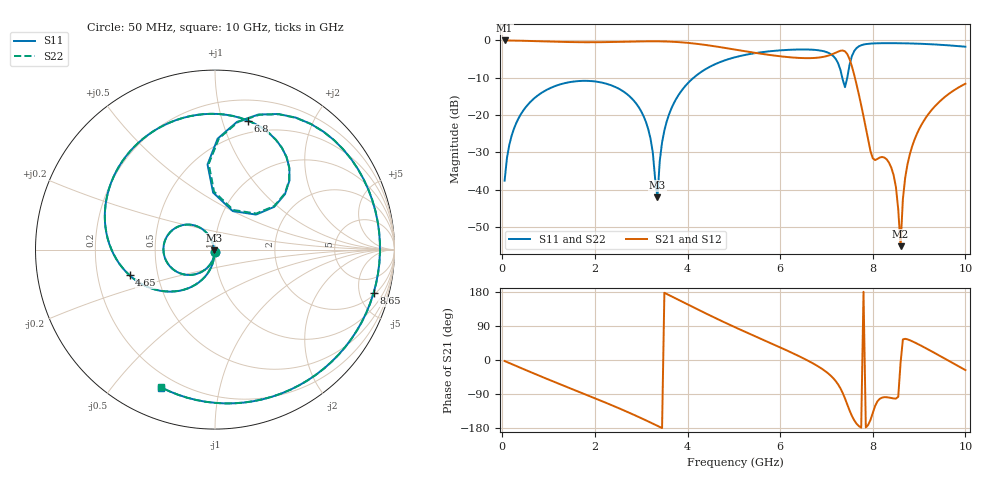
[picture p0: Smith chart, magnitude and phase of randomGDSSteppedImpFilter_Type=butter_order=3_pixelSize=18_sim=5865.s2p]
! freq	dB(S11)	phase(S11)	dB(S12)	phase(S12)
!  dB(S21)	phase(S21)	dB(S22)	phase(S22)
!S-par simulation data
#  GHz  S  DB  R 50
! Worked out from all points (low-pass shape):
!   200 points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, 50 MHz to 10 GHz, reference 50 ohm
!   highest |S21| = 0.00 dB at 50 MHz (marker M1); lowest = -55.2 dB at 8.6 GHz (marker M2)
!   |S21| within 3 dB of the highest: start of sweep to 5.296 GHz; 7.251 GHz to 7.405 GHz (154.1 MHz wide, 2.1 % of centre)
!   lowest |S11| = -42.1 dB at 3.35 GHz (marker M3), VSWR 1.02, Z = 49.4 - j0.494 ohm
!   |S11| at or under -10 dB: start of sweep to 4.131 GHz; 7.342 GHz to 7.449 GHz (107.6 MHz wide, 1.45 % of centre)
!   |S22| runs from -41.7 to -0.7 dB; largest |S21 - S12| = 0
!   S11 on the Smith chart (normalised r, x): 50 MHz: 1.00, -0.03; 4.65 GHz: 0.34, -0.13; 6.8 GHz: 0.38, +1.21; 8.65 GHz: 2.20, -6.68; 10 GHz: 0.14, -0.68
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0.05  -37.58 -92.5  -0.00 -2.7  -0.00 -2.7  -37.58 -92.5
0.2  -25.62 -100.8  -0.03 -10.6  -0.03 -10.6  -25.62 -100.8
0.5  -18.00 -116.7  -0.10 -26.2  -0.10 -26.2  -18.00 -116.7
1.75  -10.83 -179.2  -0.48 -88.7  -0.48 -88.7  -10.83 -179.2
2.95  -17.97 120.3  -0.26 -150.7  -0.26 -150.7  -17.97 120.4
3.2  -26.29 109.5  -0.23 -164.9  -0.23 -164.9  -26.28 110.1
3.35  -42.08 -140.6  -0.24 -173.7  -0.24 -173.7  -41.71 -141.9
3.4  -32.36 -99.3  -0.24 -176.7  -0.24 -176.7  -32.33 -100.5
3.75  -15.78 -110.4  -0.40 162.2  -0.40 162.2  -15.77 -110.6
4.65  -6.08 -163.2  -1.69 107.9  -1.69 107.9  -6.08 -163.3
5.05  -4.43 174.3  -2.50 85.1  -2.50 85.1  -4.43 174.2
6.7  -2.48 82.4  -4.72 -8.3  -4.72 -8.3  -2.48 82.4
6.8  -2.59 75.7  -4.64 -15.4  -4.64 -15.4  -2.59 75.7
7.35  -10.44 40.5  -2.69 -86.8  -2.69 -86.8  -10.31 41.2
7.5  -6.45 95.0  -5.05 -133.5  -5.05 -133.5  -6.39 94.2
8  -0.81 33.6  -31.59 -139.5  -31.59 -139.5  -0.81 33.3
8.35  -0.73 6.3  -32.76 -99.1  -32.76 -99.1  -0.73 6.0
8.5  -0.74 -4.7  -39.31 -101.8  -39.31 -101.8  -0.74 -4.9
8.6  -0.75 -11.8  -55.17 -7.8  -55.17 -7.8  -0.75 -12.0
8.65  -0.76 -15.4  -42.56 54.2  -42.56 54.2  -0.76 -15.6
9.05  -0.90 -43.8  -22.65 37.4  -22.65 37.4  -0.90 -44.0
10  -1.68 -111.2  -11.61 -26.6  -11.61 -26.6  -1.68 -111.3
